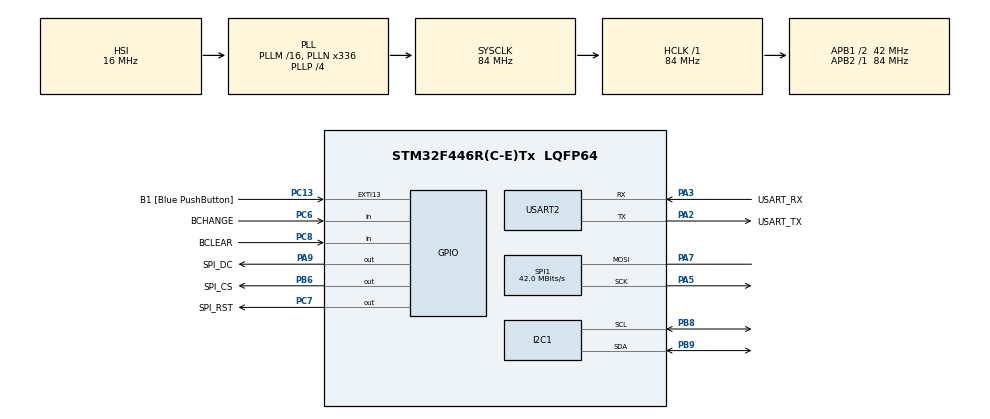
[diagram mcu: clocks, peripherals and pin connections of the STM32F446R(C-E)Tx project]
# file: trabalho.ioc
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I2C1.I2C_Mode=I2C_Fast
Mcu.Family=STM32F4
Mcu.Name=STM32F446R(C-E)Tx
Mcu.Package=LQFP64
Mcu.UserConstants=MPU_ADDR,0b1101000
NVIC.EXTI15_10_IRQn=true\:0\:0\:false\:false\:true\:true\:true\:true
NVIC.PriorityGroup=NVIC_PRIORITYGROUP_0
NVIC.USART2_IRQn=true\:0\:0\:false\:false\:true\:true\:true\:true
PA13.GPIO_Label=TMS
PA13.Mode=Serial_Wire
PA13.Signal=SYS_JTMS-SWDIO
PA14.GPIO_Label=TCK
PA14.Mode=Serial_Wire
PA14.Signal=SYS_JTCK-SWCLK
PA2.GPIO_Label=USART_TX
PA2.Mode=Asynchronous
PA2.Signal=USART2_TX
PA3.GPIO_Label=USART_RX
PA3.Mode=Asynchronous
PA3.Signal=USART2_RX
PA5.Mode=Simplex_Bidirectional_Master
PA5.Signal=SPI1_SCK
PA7.Mode=Simplex_Bidirectional_Master
PA7.Signal=SPI1_MOSI
PA9.GPIO_Label=SPI_DC
PA9.Signal=GPIO_Output
PB3.GPIO_Label=SWO
PB3.Signal=SYS_JTDO-SWO
PB6.GPIO_Label=SPI_CS
PB6.Signal=GPIO_Output
PB8.Mode=I2C
PB8.Signal=I2C1_SCL
PB9.Mode=I2C
PB9.Signal=I2C1_SDA
PC13.GPIO_Label=B1 [Blue PushButton]
PC13.GPIO_ModeDefaultEXTI=GPIO_MODE_IT_FALLING
PC13.Signal=GPXTI13
PC14-OSC32_IN.Mode=LSE-External-Oscillator
PC14-OSC32_IN.Signal=RCC_OSC32_IN
PC15-OSC32_OUT.Mode=LSE-External-Oscillator
PC15-OSC32_OUT.Signal=RCC_OSC32_OUT
PC6.GPIO_Label=BCHANGE
PC6.GPIO_PuPd=GPIO_PULLDOWN
PC6.Signal=GPIO_Input
PC7.GPIO_Label=SPI_RST
PC7.Signal=GPIO_Output
PC8.GPIO_Label=BCLEAR
PC8.GPIO_PuPd=GPIO_PULLDOWN
PC8.Signal=GPIO_Input
PH0-OSC_IN.Mode=HSE-External-Oscillator
PH0-OSC_IN.Signal=RCC_OSC_IN
PH1-OSC_OUT.Mode=HSE-External-Oscillator
PH1-OSC_OUT.Signal=RCC_OSC_OUT
ProjectManager.HeapSize=0x200
ProjectManager.StackSize=0x400
ProjectManager.TargetToolchain=STM32CubeIDE
RCC.48MHZClocksFreq_Value=84000000
RCC.AHBFreq_Value=84000000
RCC.APB1CLKDivider=RCC_HCLK_DIV2
RCC.APB1Freq_Value=42000000
RCC.APB1TimFreq_Value=84000000
RCC.APB2Freq_Value=84000000
RCC.APB2TimFreq_Value=84000000
RCC.CortexFreq_Value=84000000
RCC.FLatency-AdvancedSettings=FLASH_LATENCY_2
RCC.HCLKFreq_Value=84000000
RCC.HSE_VALUE=8000000
RCC.HSI_VALUE=16000000
RCC.PLLN=336
RCC.PLLP=RCC_PLLP_DIV4
RCC.SYSCLKFreq_VALUE=84000000
RCC.SYSCLKSource=RCC_SYSCLKSOURCE_PLLCLK
RCC.USBFreq_Value=168000000
RCC.VCOOutputFreq_Value=336000000
SPI1.BaudRatePrescaler=SPI_BAUDRATEPRESCALER_2
SPI1.CalculateBaudRate=42.0 MBits/s
SPI1.Direction=SPI_DIRECTION_1LINE
SPI1.Mode=SPI_MODE_MASTER
SPI1.VirtualType=VM_MASTER
USART2.VirtualMode=VM_ASYNC
board=NUCLEO-F446RE

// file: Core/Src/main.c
/* USER CODE BEGIN Header */
/**
  ******************************************************************************
  * @file           : main.c
  * @brief          : Main program body
  ******************************************************************************
  * @attention
  *
  * Copyright (c) 2025 STMicroelectronics.
  * All rights reserved.
  *
  * This software is licensed under terms that can be found in the LICENSE file
  * in the root directory of this software component.
  * If no LICENSE file comes with this software, it is provided AS-IS.
  *
  ******************************************************************************
  */
/* USER CODE END Header */
#include "main.h"
#include "i2c.h"
#include "spi.h"
#include "usart.h"
#include "gpio.h"

/* USER CODE BEGIN Includes */
#include <stdio.h>
#include <mpu6050.h>
#include <ST7735.h>
#include <GFX_FUNCTIONS.h>
/* USER CODE END Includes */

/* USER CODE BEGIN PV */
#define TOUT 10
#define TMSG 1
char cmd;
char msg[100];
uint16_t x, y;
int colorCount = 0, bchange = 0;
int colors[] = { BLACK, BLUE, RED, GREEN, CYAN, MAGENTA, YELLOW, WHITE };
/* USER CODE END PV */

void SystemClock_Config(void);

int main(void)
{

  /* MCU Configuration--------------------------------------------------------*/

  /* Reset of all peripherals, Initializes the Flash interface and the Systick. */
	HAL_Init();

  /* Configure the system clock */
  SystemClock_Config();

  /* Initialize all configured peripherals */
  MX_GPIO_Init();
  MX_USART2_UART_Init();
  MX_I2C1_Init();
  MX_SPI1_Init();
  /* USER CODE BEGIN 2 */
	HAL_UART_Receive_IT(&huart2, &cmd, 2);
  	mpu6050_init();
	ST7735_Init(0);
	fillScreen(WHITE);
  /* USER CODE END 2 */

  /* Infinite loop */
  /* USER CODE BEGIN WHILE */
  while (1)
  {
		if (HAL_GPIO_ReadPin(B1_GPIO_Port, B1_Pin) == GPIO_PIN_RESET) {
			x = mpu6050_read_x();
			y = mpu6050_read_y();
			fillCircle(x, y, 1, colors[colorCount]);
			// montando mensagem que e um objeto JSON, o que facilitara seu uso no Cube Monitor
			sprintf(msg, "{\"x\": \"%d\", \"y\": \"%d\", \"cor\": \"%d\"}\r\n",
					x, y, colorCount);
			// enviando a mensagem
			HAL_UART_Transmit(&huart2, msg, strlen(msg), TOUT);
		}
		if (HAL_GPIO_ReadPin(BCLEAR_GPIO_Port, BCLEAR_Pin) == GPIO_PIN_SET) {
			fillScreen(WHITE);
		}
		if (HAL_GPIO_ReadPin(BCHANGE_GPIO_Port, BCHANGE_Pin) == GPIO_PIN_SET) {
			HAL_Delay(50);
			if (bchange == 0) {
				colorCount = (colorCount + 1) < 8 ? colorCount + 1 : 0;
				bchange = 1;
			}
		}
		if (HAL_GPIO_ReadPin(BCHANGE_GPIO_Port, BCHANGE_Pin)
				== GPIO_PIN_RESET) {
			bchange = 0;
		}

    /* USER CODE END WHILE */

  }
}

void SystemClock_Config(void)
{
  RCC_OscInitTypeDef RCC_OscInitStruct = {0};
  RCC_ClkInitTypeDef RCC_ClkInitStruct = {0};

  /** Configure the main internal regulator output voltage
  */
  __HAL_RCC_PWR_CLK_ENABLE();
  __HAL_PWR_VOLTAGESCALING_CONFIG(PWR_REGULATOR_VOLTAGE_SCALE3);

  /** Initializes the RCC Oscillators according to the specified parameters
  * in the RCC_OscInitTypeDef structure.
  */
  RCC_OscInitStruct.OscillatorType = RCC_OSCILLATORTYPE_HSI;
  RCC_OscInitStruct.HSIState = RCC_HSI_ON;
  RCC_OscInitStruct.HSICalibrationValue = RCC_HSICALIBRATION_DEFAULT;
  RCC_OscInitStruct.PLL.PLLState = RCC_PLL_ON;
  RCC_OscInitStruct.PLL.PLLSource = RCC_PLLSOURCE_HSI;
  RCC_OscInitStruct.PLL.PLLM = 16;
  RCC_OscInitStruct.PLL.PLLN = 336;
  RCC_OscInitStruct.PLL.PLLP = RCC_PLLP_DIV4;
  RCC_OscInitStruct.PLL.PLLQ = 2;
  RCC_OscInitStruct.PLL.PLLR = 2;
  if (HAL_RCC_OscConfig(&RCC_OscInitStruct) != HAL_OK)
  {
    Error_Handler();
  }

  /** Initializes the CPU, AHB and APB buses clocks
  */
  RCC_ClkInitStruct.ClockType = RCC_CLOCKTYPE_HCLK|RCC_CLOCKTYPE_SYSCLK
                              |RCC_CLOCKTYPE_PCLK1|RCC_CLOCKTYPE_PCLK2;
  RCC_ClkInitStruct.SYSCLKSource = RCC_SYSCLKSOURCE_PLLCLK;
  RCC_ClkInitStruct.AHBCLKDivider = RCC_SYSCLK_DIV1;
  RCC_ClkInitStruct.APB1CLKDivider = RCC_HCLK_DIV2;
  RCC_ClkInitStruct.APB2CLKDivider = RCC_HCLK_DIV1;

  if (HAL_RCC_ClockConfig(&RCC_ClkInitStruct, FLASH_LATENCY_2) != HAL_OK)
  {
    Error_Handler();
  }
}

/* USER CODE BEGIN 4 */
/*
 * Sobrescreve a funcao write mudando o destino padrao do stdin para
 * o STM SWV ITM Data Console, utilizado na fase de desenvolvimento
 */
int _write(int file, char *ptr, int len) {
	(void) file;
	int DataIdx;

	for (DataIdx = 0; DataIdx < len; DataIdx++) {
		ITM_SendChar(*ptr++);
	}
	return len;
}

/*
 * Recebendo comandos do Cube Monitor
 * c -> muda a cor
 * l -> limpa a tela
 */
void HAL_UART_RxCpltCallback(UART_HandleTypeDef *huart) {

	switch (cmd) {
	case 'c':
		colorCount = (colorCount + 1) < 8 ? colorCount + 1 : 0;
		break;
	case 'l':
		fillScreen(WHITE);
		break;
	}
	HAL_UART_Receive_IT(&huart2, &cmd, TMSG);
}
/* USER CODE END 4 */

void Error_Handler(void)
{
  __disable_irq();
  while (1)
  {
  }
}
